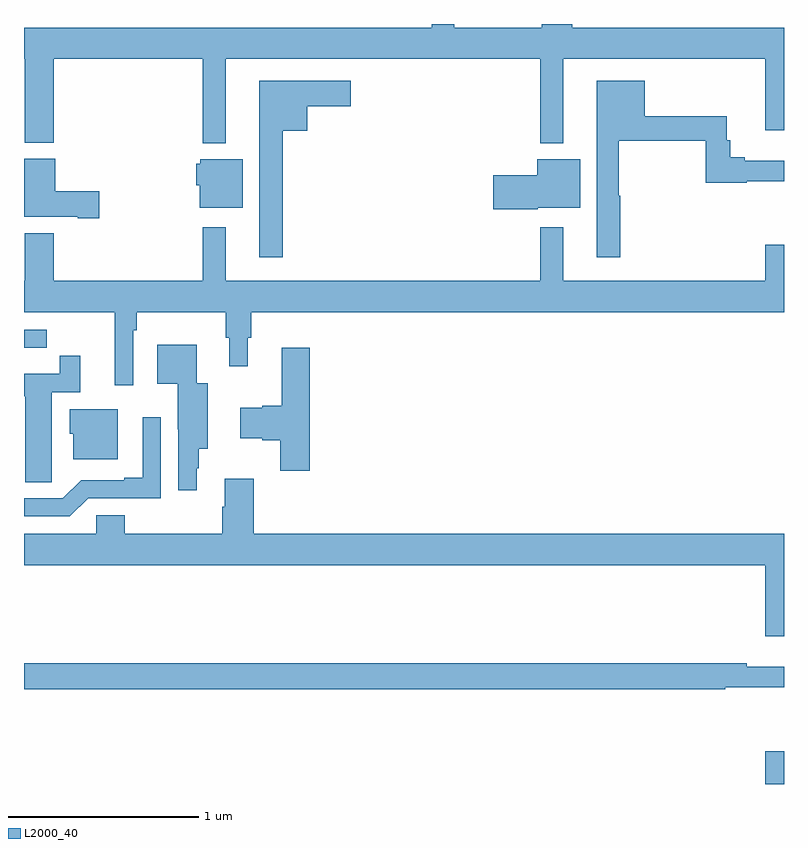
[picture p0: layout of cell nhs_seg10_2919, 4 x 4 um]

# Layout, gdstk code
import gdstk
lib = gdstk.Library(unit=1e-6, precision=1e-09)
def R(c, l, rs):  # rectangles x0, y0, x1, y1
    for r in rs: c.add(gdstk.rectangle(r[:2], r[2:], *l))
def P(c, l, *ps):  # polygons
    for p in ps: c.add(gdstk.Polygon(p, *l))
L2000_40 = (2000, 40)

nhs_seg10_2919 = lib.new_cell('nhs_seg10_2919')
R(nhs_seg10_2919, L2000_40, [(272.9,1296.5,273,1296.673)])
P(nhs_seg10_2919, L2000_40, [(270.061,1300.316),(271.716,1300.316),(271.716,1299.872),(271.837,1299.872),(271.837,1300.316),(272.9,1300.316),(272.9,1299.942),(273,1299.942),(273,1300.48),(271.886,1300.48),(271.886,1300.5),(271.726,1300.5),(271.726,1300.48),(271.264,1300.48),(271.264,1300.5),(271.147,1300.5),(271.147,1300.48),(269,1300.48),(269,1300.316),(269.003,1300.316),(269.003,1299.875),(269.156,1299.875),(269.156,1300.316),(269.94,1300.316),(269.94,1299.872),(270.061,1299.872)],
  [(270.361,1299.938),(270.49,1299.938),(270.49,1300.067),(270.721,1300.067),(270.721,1300.201),(270.239,1300.201),(270.239,1299.273),(270.361,1299.273)],
  [(272.137,1299.597),(272.129,1299.597),(272.129,1299.886),(272.589,1299.886),(272.589,1299.664),(272.804,1299.664),(272.804,1299.672),(273,1299.672),(273,1299.781),(272.794,1299.781),(272.794,1299.8),(272.717,1299.8),(272.717,1299.888),(272.699,1299.888),(272.699,1300.015),(272.266,1300.015),(272.266,1300.201),(272.015,1300.201),(272.015,1299.273),(272.137,1299.273)],
  [(269.395,1299.62),(269.164,1299.62),(269.164,1299.79),(269,1299.79),(269,1299.485),(269.282,1299.485),(269.282,1299.478),(269.395,1299.478)],
  [(271.704,1299.533),(271.927,1299.533),(271.927,1299.787),(271.7,1299.787),(271.7,1299.704),(271.47,1299.704),(271.47,1299.526),(271.704,1299.526)],
  [(270.151,1299.787),(269.928,1299.787),(269.928,1299.765),(269.906,1299.765),(269.906,1299.651),(269.924,1299.651),(269.924,1299.533),(270.151,1299.533)],
  [(273,1299.337),(272.9,1299.337),(272.9,1299.148),(271.837,1299.148),(271.837,1299.43),(271.716,1299.43),(271.716,1299.148),(270.061,1299.148),(270.061,1299.43),(269.94,1299.43),(269.94,1299.148),(269.156,1299.148),(269.156,1299.4),(269.003,1299.4),(269.003,1299.148),(269,1299.148),(269,1298.984),(269.477,1298.984),(269.477,1298.598),(269.574,1298.598),(269.574,1298.888),(269.594,1298.888),(269.594,1298.984),(270.061,1298.984),(270.061,1298.85),(270.08,1298.85),(270.08,1298.7),(270.178,1298.7),(270.178,1298.85),(270.197,1298.85),(270.197,1298.984),(273,1298.984)],
  [(269.006,1298.796),(269.119,1298.796),(269.119,1298.892),(269,1298.892),(269,1298.795),(269.006,1298.795)],
  [(269.908,1298.163),(269.92,1298.163),(269.92,1298.264),(269.968,1298.264),(269.968,1298.608),(269.908,1298.608),(269.908,1298.812),(269.702,1298.812),(269.702,1298.606),(269.81,1298.606),(269.81,1298.368),(269.811,1298.368),(269.811,1298.046),(269.908,1298.046)],
  [(270.503,1298.797),(270.356,1298.797),(270.356,1298.492),(270.255,1298.492),(270.255,1298.479),(270.138,1298.479),(270.138,1298.321),(270.255,1298.321),(270.255,1298.309),(270.349,1298.309),(270.349,1298.148),(270.503,1298.148)],
  [(269.145,1298.2),(269.146,1298.2),(269.146,1298.562),(269.297,1298.562),(269.297,1298.755),(269.188,1298.755),(269.188,1298.658),(269,1298.658),(269,1298.542),(269.006,1298.542),(269.006,1298.089),(269.145,1298.089)],
  [(269.494,1298.473),(269.24,1298.473),(269.24,1298.343),(269.258,1298.343),(269.258,1298.21),(269.494,1298.21)],
  [(269.337,1298.004),(269.721,1298.004),(269.721,1298.431),(269.624,1298.431),(269.624,1298.113),(269.528,1298.113),(269.528,1298.1),(269.301,1298.1),(269.205,1298.004),(269,1298.004),(269,1297.908),(269.241,1297.908)],
  [(273,1297.816),(270.209,1297.816),(270.209,1298.107),(270.056,1298.107),(270.056,1297.958),(270.044,1297.958),(270.044,1297.816),(269.531,1297.816),(269.531,1297.914),(269.379,1297.914),(269.379,1297.816),(269,1297.816),(269,1297.652),(272.9,1297.652),(272.9,1297.278),(273,1297.278)],
  [(272.69,1297.008),(273,1297.008),(273,1297.117),(272.804,1297.117),(272.804,1297.136),(269,1297.136),(269,1297),(272.69,1297)])

lib.write_gds('nhs_seg10_2919.gds')
